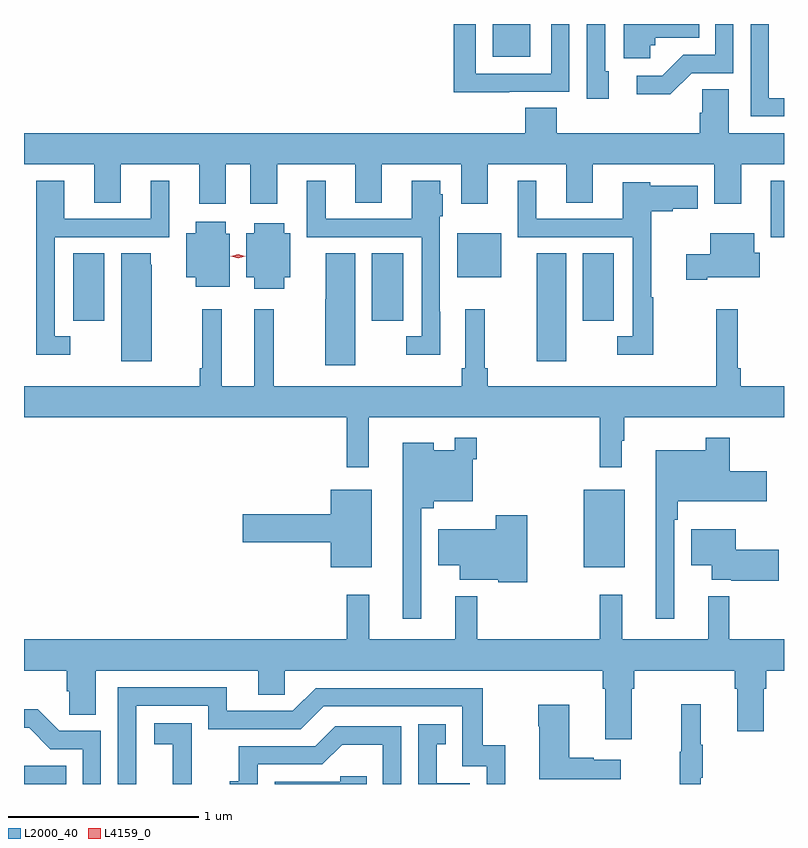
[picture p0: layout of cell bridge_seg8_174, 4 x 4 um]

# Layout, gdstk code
import gdstk
lib = gdstk.Library(unit=1e-6, precision=1e-09)
def R(c, l, rs):  # rectangles x0, y0, x1, y1
    for r in rs: c.add(gdstk.rectangle(r[:2], r[2:], *l))
def P(c, l, *ps):  # polygons
    for p in ps: c.add(gdstk.Polygon(p, *l))
L2000_40 = (2000, 40)
L4159_0 = (4159, 0)

bridge_seg8_174 = lib.new_cell('bridge_seg8_174')
R(bridge_seg8_174, L2000_40, [(393.733,1101.251,393.956,1101.346), (396.68,1102.391,396.895,1102.801), (396.431,1103.475,396.586,1104.044), (393.992,1103.688,394.156,1104.044), (395.564,1103.688,395.728,1104.044), (396.674,1103.688,396.838,1104.044), (396.014,1103.918,396.244,1104.151), (397.664,1104.129,397.733,1104.427), (396.2,1105.079,396.397,1105.251)])
P(bridge_seg8_174, L2000_40, [(396.287,1104.894),(396.603,1104.894),(396.603,1105.251),(396.507,1105.251),(396.507,1104.99),(396.111,1104.99),(396.111,1105.251),(395.995,1105.251),(395.995,1104.893),(396.287,1104.893)],
  [(397.248,1104.993),(397.467,1104.993),(397.467,1105.251),(397.371,1105.251),(397.371,1105.089),(397.202,1105.089),(397.091,1104.978),(396.957,1104.978),(396.957,1104.881),(397.135,1104.881)],
  [(397.029,1105.14),(397.056,1105.14),(397.056,1105.178),(397.286,1105.178),(397.286,1105.251),(396.89,1105.251),(396.89,1105.07),(397.029,1105.07)],
  [(396.811,1105.002),(396.792,1105.002),(396.792,1105.251),(396.696,1105.251),(396.696,1104.858),(396.811,1104.858)],
  [(397.733,1104.861),(397.653,1104.861),(397.653,1105.251),(397.557,1105.251),(397.557,1104.765),(397.733,1104.765)],
  [(393.733,1104.512),(394.103,1104.512),(394.103,1104.31),(394.243,1104.31),(394.243,1104.512),(394.655,1104.512),(394.655,1104.306),(394.795,1104.306),(394.795,1104.512),(394.925,1104.512),(394.925,1104.306),(395.065,1104.306),(395.065,1104.512),(395.477,1104.512),(395.477,1104.31),(395.617,1104.31),(395.617,1104.512),(396.035,1104.512),(396.035,1104.306),(396.175,1104.306),(396.175,1104.512),(396.587,1104.512),(396.587,1104.31),(396.727,1104.31),(396.727,1104.512),(397.367,1104.512),(397.367,1104.306),(397.507,1104.306),(397.507,1104.512),(397.733,1104.512),(397.733,1104.676),(397.441,1104.676),(397.441,1104.908),(397.302,1104.908),(397.302,1104.785),(397.289,1104.785),(397.289,1104.676),(396.536,1104.676),(396.536,1104.809),(396.371,1104.809),(396.371,1104.676),(393.733,1104.676)],
  [(397.045,1103.814),(397.034,1103.814),(397.034,1104.266),(397.148,1104.266),(397.148,1104.278),(397.279,1104.278),(397.279,1104.4),(397.029,1104.4),(397.029,1104.418),(396.884,1104.418),(396.884,1104.225),(396.43,1104.225),(396.43,1104.427),(396.332,1104.427),(396.332,1104.129),(396.936,1104.129),(396.936,1103.607),(396.855,1103.607),(396.855,1103.51),(397.045,1103.51)],
  [(393.976,1103.607),(393.894,1103.607),(393.894,1104.129),(394.498,1104.129),(394.498,1104.427),(394.4,1104.427),(394.4,1104.225),(393.946,1104.225),(393.946,1104.427),(393.798,1104.427),(393.798,1103.736),(393.797,1103.736),(393.797,1103.51),(393.976,1103.51)],
  [(395.923,1103.736),(395.922,1103.736),(395.922,1104.24),(395.938,1104.24),(395.938,1104.354),(395.923,1104.354),(395.923,1104.427),(395.774,1104.427),(395.774,1104.225),(395.32,1104.225),(395.32,1104.427),(395.222,1104.427),(395.222,1104.129),(395.826,1104.129),(395.826,1103.607),(395.745,1103.607),(395.745,1103.51),(395.923,1103.51)],
  [(394.816,1104.147),(394.795,1104.147),(394.795,1104.211),(394.637,1104.211),(394.637,1104.151),(394.586,1104.151),(394.586,1103.918),(394.637,1103.918),(394.637,1103.867),(394.816,1103.867)],
  [(395.104,1103.918),(395.134,1103.918),(395.134,1104.151),(395.104,1104.151),(395.104,1104.202),(394.946,1104.202),(394.946,1104.151),(394.904,1104.151),(394.904,1103.918),(394.946,1103.918),(394.946,1103.858),(395.104,1103.858)],
  [(397.33,1103.918),(397.606,1103.918),(397.606,1104.048),(397.576,1104.048),(397.576,1104.151),(397.346,1104.151),(397.346,1104.04),(397.218,1104.04),(397.218,1103.906),(397.33,1103.906)],
  [(395.476,1104.044),(395.321,1104.044),(395.321,1103.802),(395.318,1103.802),(395.318,1103.454),(395.476,1103.454)],
  [(394.405,1103.985),(394.399,1103.985),(394.399,1104.044),(394.244,1104.044),(394.244,1103.475),(394.405,1103.475)],
  [(395.548,1103.18),(396.763,1103.18),(396.763,1102.917),(396.88,1102.917),(396.88,1103.057),(396.892,1103.057),(396.892,1103.18),(397.733,1103.18),(397.733,1103.344),(397.505,1103.344),(397.505,1103.44),(397.49,1103.44),(397.49,1103.749),(397.377,1103.749),(397.377,1103.344),(396.173,1103.344),(396.173,1103.44),(396.158,1103.44),(396.158,1103.749),(396.056,1103.749),(396.056,1103.44),(396.037,1103.44),(396.037,1103.344),(395.048,1103.344),(395.048,1103.749),(394.946,1103.749),(394.946,1103.344),(394.774,1103.344),(394.774,1103.749),(394.672,1103.749),(394.672,1103.44),(394.657,1103.44),(394.657,1103.344),(393.733,1103.344),(393.733,1103.18),(395.431,1103.18),(395.431,1102.917),(395.548,1102.917)],
  [(395.823,1102.703),(395.89,1102.703),(395.89,1102.739),(396.096,1102.739),(396.096,1102.961),(396.116,1102.961),(396.116,1103.074),(396,1103.074),(396,1103.008),(395.89,1103.008),(395.89,1103.047),(395.726,1103.047),(395.726,1102.122),(395.823,1102.122)],
  [(397.155,1102.643),(397.175,1102.643),(397.175,1102.739),(397.642,1102.739),(397.642,1102.897),(397.448,1102.897),(397.448,1103.074),(397.32,1103.074),(397.32,1103.008),(397.058,1103.008),(397.058,1102.122),(397.155,1102.122)],
  [(395.563,1102.801),(395.348,1102.801),(395.348,1102.67),(394.884,1102.67),(394.884,1102.523),(395.348,1102.523),(395.348,1102.391),(395.563,1102.391)],
  [(396.382,1102.666),(396.217,1102.666),(396.217,1102.591),(395.912,1102.591),(395.912,1102.403),(396.026,1102.403),(396.026,1102.325),(396.228,1102.325),(396.228,1102.313),(396.382,1102.313)],
  [(397.705,1102.483),(397.48,1102.483),(397.48,1102.591),(397.244,1102.591),(397.244,1102.403),(397.352,1102.403),(397.352,1102.325),(397.456,1102.325),(397.456,1102.32),(397.705,1102.32)],
  [(396.763,1102.012),(396.119,1102.012),(396.119,1102.24),(396.002,1102.24),(396.002,1102.012),(395.549,1102.012),(395.549,1102.246),(395.431,1102.246),(395.431,1102.012),(393.733,1102.012),(393.733,1101.848),(393.959,1101.848),(393.959,1101.739),(393.972,1101.739),(393.972,1101.616),(394.111,1101.616),(394.111,1101.848),(394.967,1101.848),(394.967,1101.721),(395.106,1101.721),(395.106,1101.848),(396.779,1101.848),(396.779,1101.752),(396.791,1101.752),(396.791,1101.486),(396.931,1101.486),(396.931,1101.752),(396.944,1101.752),(396.944,1101.848),(397.475,1101.848),(397.475,1101.752),(397.487,1101.752),(397.487,1101.528),(397.627,1101.528),(397.627,1101.752),(397.64,1101.752),(397.64,1101.848),(397.733,1101.848),(397.733,1102.012),(397.446,1102.012),(397.446,1102.24),(397.334,1102.24),(397.334,1102.012),(396.881,1102.012),(396.881,1102.246),(396.763,1102.246)],
  [(394.323,1101.663),(394.704,1101.663),(394.704,1101.54),(395.19,1101.54),(395.31,1101.66),(396.039,1101.66),(396.039,1101.345),(396.168,1101.345),(396.168,1101.251),(396.266,1101.251),(396.266,1101.454),(396.148,1101.454),(396.148,1101.756),(395.268,1101.756),(395.148,1101.636),(394.801,1101.636),(394.801,1101.759),(394.227,1101.759),(394.227,1101.251),(394.323,1101.251)],
  [(397.295,1101.283),(397.306,1101.283),(397.306,1101.457),(397.295,1101.457),(397.295,1101.67),(397.192,1101.67),(397.192,1101.42),(397.185,1101.42),(397.185,1101.251),(397.295,1101.251)],
  [(396.874,1101.379),(396.731,1101.379),(396.731,1101.389),(396.604,1101.389),(396.604,1101.667),(396.439,1101.667),(396.439,1101.554),(396.446,1101.554),(396.446,1101.275),(396.874,1101.275)],
  [(394.137,1101.531),(393.918,1101.531),(393.805,1101.644),(393.733,1101.644),(393.733,1101.546),(393.761,1101.546),(393.872,1101.435),(394.041,1101.435),(394.041,1101.251),(394.137,1101.251)],
  [(394.616,1101.365),(394.617,1101.365),(394.617,1101.571),(394.419,1101.571),(394.419,1101.461),(394.517,1101.461),(394.517,1101.251),(394.616,1101.251)],
  [(396.078,1101.255),(395.905,1101.255),(395.905,1101.459),(395.954,1101.459),(395.954,1101.565),(395.808,1101.565),(395.808,1101.251),(396.078,1101.251)],
  [(394.962,1101.354),(395.304,1101.354),(395.408,1101.458),(395.622,1101.458),(395.622,1101.251),(395.718,1101.251),(395.718,1101.555),(395.372,1101.555),(395.267,1101.45),(394.864,1101.45),(394.864,1101.265),(394.815,1101.265),(394.815,1101.251),(394.962,1101.251)],
  [(395.537,1101.291),(395.397,1101.291),(395.397,1101.264),(395.052,1101.264),(395.052,1101.251),(395.537,1101.251)])
P(bridge_seg8_174, L4159_0, [(394.86,1104.019),(394.822,1104.029),(394.822,1104.029),(394.822,1104.029),(394.86,1104.039),(394.897,1104.029),(394.897,1104.029),(394.897,1104.029)])

lib.write_gds('bridge_seg8_174.gds')
